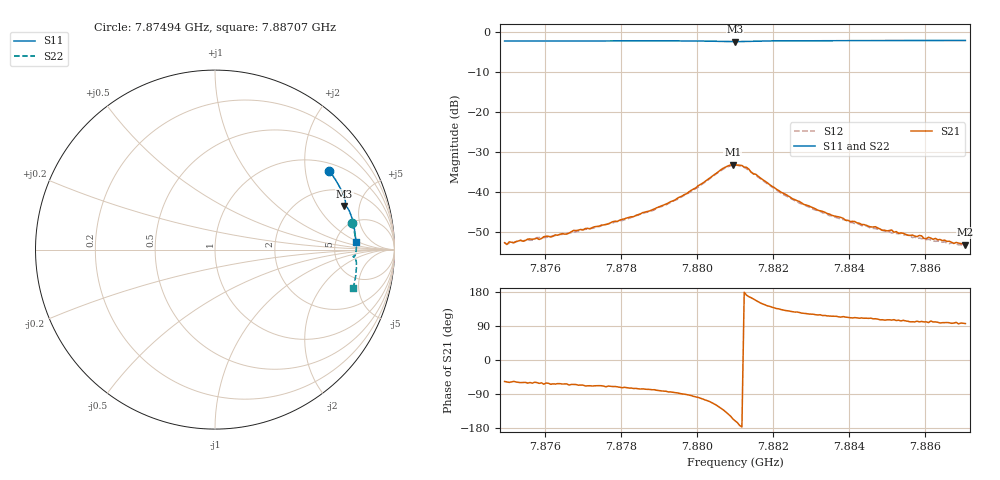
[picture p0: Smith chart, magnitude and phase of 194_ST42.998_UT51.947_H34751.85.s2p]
#  HZ  S  DB  R  50.00
! Rohde & Schwarz Vector Network Analyzer
! Rohde-Schwarz,ZNB20-2Port,1311601062101988,3.16
! Created: UTC 1/12/2023, 6:43:48 PM
! freq[Hz]  db:S11  ang:S11  db:S21  ang:S21  db:S12  ang:S12  db:S22  ang:S22
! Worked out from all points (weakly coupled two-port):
!   201 points, 7.87494 GHz to 7.88707 GHz, reference 50 ohm
!   highest |S21| = -33.09 dB at 7.88094 GHz (marker M1); lowest = -53.1 dB at 7.88707 GHz (marker M2)
!   lowest |S11| = -2.4 dB at 7.881 GHz (marker M3), VSWR 7.35, Z = 154 + j177 ohm
!   |S11| at or under -10 dB: nowhere
!   |S22| runs from -2.3 to -1.9 dB; largest |S21 - S12| = 0.0014
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7.874938e9  -2.24 34.7  -52.60 -56.7  -52.60 -60.1  -2.17 10.8
7.874999e9  -2.24 34.5  -53.04 -57.9  -52.96 -60.1  -2.17 10.6
7.875059e9  -2.23 34.3  -52.40 -59.1  -52.73 -62.6  -2.17 10.5
7.875848e9  -2.22 32.2  -51.79 -61.7  -51.32 -63.5  -2.16 8.7
7.87603e9  -2.22 31.7  -50.98 -60.9  -51.30 -63.9  -2.14 8.2
7.876151e9  -2.21 31.3  -51.18 -64.1  -51.01 -64.9  -2.14 7.9
7.876758e9  -2.20 29.7  -49.52 -64.4  -50.00 -68.6  -2.12 6.5
7.877e9  -2.20 29.0  -49.42 -66.2  -49.31 -69.4  -2.12 5.9
7.878153e9  -2.19 25.9  -46.42 -73.0  -46.76 -77.2  -2.08 3.2
7.879002e9  -2.18 23.5  -43.65 -80.7  -43.70 -84.2  -2.08 1.2
7.87973e9  -2.20 21.4  -40.35 -91.4  -40.48 -95.0  -2.08 -0.6
7.88064e9  -2.31 18.9  -34.32 -127.7  -34.57 -130.8  -2.20 -2.8
7.880943e9  -2.37 18.6  -33.09 -154.9  -33.25 -156.8  -2.26 -2.9
7.881004e9  -2.38 18.6  -33.11 -160.4  -33.21 -162.7  -2.27 -2.9
7.881307e9  -2.32 18.5  -33.77 171.2  -34.12 169.7  -2.22 -2.9
7.881489e9  -2.28 18.1  -35.42 160.9  -35.32 157.1  -2.17 -3.1
7.882217e9  -2.17 16.1  -40.01 133.1  -40.21 129.8  -2.05 -4.8
7.883066e9  -2.13 13.7  -43.90 120.8  -44.26 116.7  -2.01 -6.8
7.883915e9  -2.12 11.4  -47.00 113.2  -46.95 110.3  -1.99 -8.8
7.885067e9  -2.10 8.4  -49.55 106.1  -49.83 102.1  -1.96 -11.4
7.885795e9  -2.09 6.4  -51.09 102.6  -51.59 98.4  -1.96 -12.9
7.887069e9  -2.08 3.1  -53.06 96.1  -53.47 93.8  -1.94 -15.7
